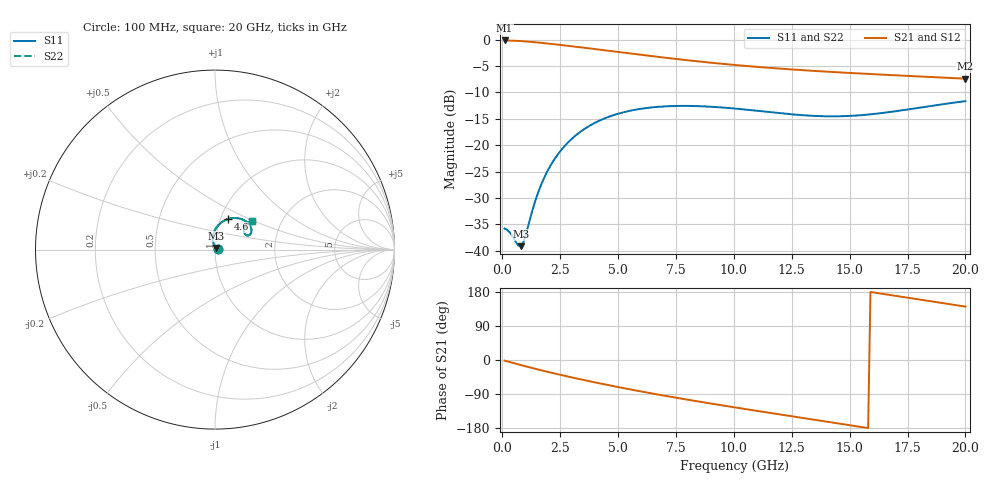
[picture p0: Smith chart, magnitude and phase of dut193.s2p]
! Created with skrf 1.9.0 (http://scikit-rf.org).
# GHz S RI R 50.0
!freq ReS11 ImS11 ReS21 ImS21 ReS12 ImS12 ReS22 ImS22
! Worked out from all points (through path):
!   200 points, 100 MHz to 20 GHz, reference 50 ohm
!   highest |S21| = -0.15 dB at 100 MHz (marker M1); lowest = -7.4 dB at 20 GHz (marker M2)
!   group delay of S21, straight-line fit = 29.1 ps
!   lowest |S11| = -39.1 dB at 800 MHz (marker M3), VSWR 1.02, Z = 50.7 + j0.882 ohm
!   |S11| at or under -10 dB: start of sweep to end of sweep
!   |S22| runs from -39.1 to -11.6 dB; largest |S21 - S12| = 2.4e-15
!   S11 on the Smith chart (normalised r, x): 100 MHz: 1.03, +0.00; 4.6 GHz: 1.09, +0.39; 20 GHz: 1.42, +0.49
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0.1  0.0163 0.000771  0.9829 -0.0293  0.9829 -0.0293  0.0163 0.000771
0.3  0.015 0.00199  0.9776 -0.0868  0.9776 -0.0868  0.015 0.00199
0.7  0.00893 0.00677  0.9525 -0.1977  0.9525 -0.1977  0.00893 0.00677
0.8  0.00687 0.0087  0.9436 -0.2241  0.9436 -0.2241  0.00687 0.0087
0.9  0.00469 0.011  0.9336 -0.2499  0.9336 -0.2499  0.00469 0.011
1  0.00245 0.0136  0.9229 -0.275  0.9229 -0.275  0.00245 0.0136
1.5  -0.00776 0.0324  0.8578 -0.3894  0.8578 -0.3894  -0.00776 0.0324
1.7  -0.0105 0.0422  0.8277 -0.4298  0.8277 -0.4298  -0.0105 0.0422
2  -0.0124 0.0584  0.7794 -0.4849  0.7794 -0.4849  -0.0124 0.0584
2.3  -0.0113 0.0756  0.7284 -0.5333  0.7284 -0.5333  -0.0113 0.0756
2.7  -0.00504 0.0987  0.6574 -0.5882  0.6574 -0.5882  -0.00504 0.0987
3.5  0.0214 0.1389  0.5109 -0.6679  0.5109 -0.6679  0.0214 0.1389
4.6  0.0742 0.1707  0.3125 -0.7205  0.3125 -0.7205  0.0742 0.1707
5.6  0.1228 0.1754  0.147 -0.7226  0.147 -0.7226  0.1228 0.1754
6.8  0.1679 0.16  -0.0239 -0.6843  -0.0239 -0.6843  0.1679 0.16
8.4  0.1987 0.1257  -0.2015 -0.5914  -0.2015 -0.5914  0.1987 0.1257
10.1  0.2013 0.0941  -0.3348 -0.4668  -0.3348 -0.4668  0.2013 0.0941
11.7  0.1882 0.0798  -0.4176 -0.3388  -0.4176 -0.3388  0.1882 0.0798
13.4  0.1711 0.0829  -0.4669 -0.1985  -0.4669 -0.1985  0.1711 0.0829
15  0.1614 0.0997  -0.4795 -0.0672  -0.4795 -0.0672  0.1614 0.0997
16.7  0.1641 0.1246  -0.4585 0.0648  -0.4585 0.0648  0.1641 0.1246
20  0.2071 0.1603  -0.3318 0.2696  -0.3318 0.2696  0.2071 0.1603
